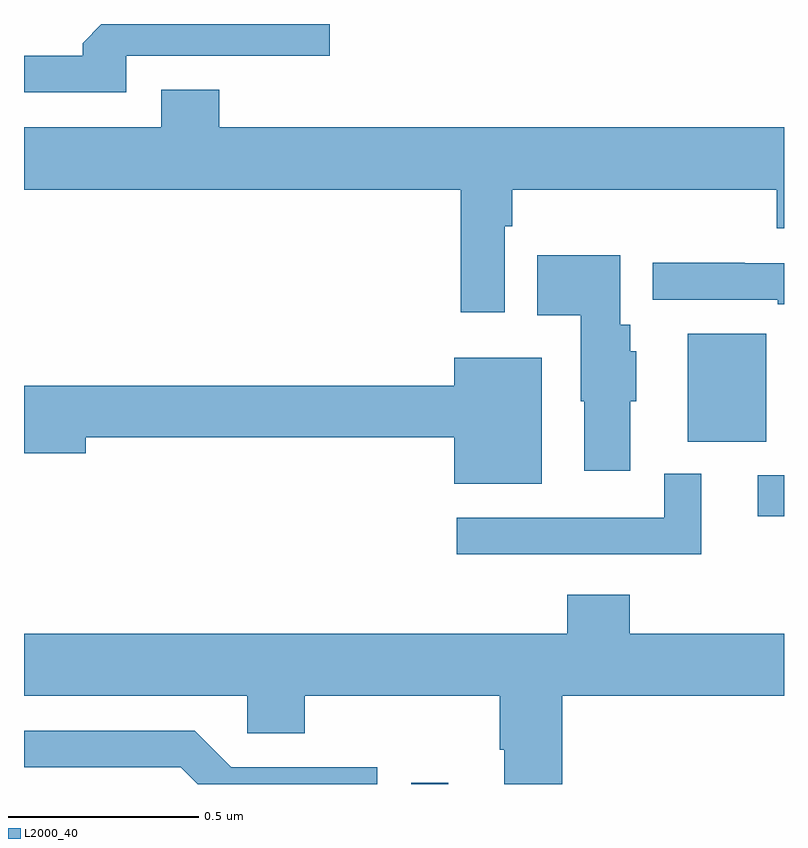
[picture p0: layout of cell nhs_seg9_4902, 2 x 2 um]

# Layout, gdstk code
import gdstk
lib = gdstk.Library(unit=1e-6, precision=1e-09)
def R(c, l, rs):  # rectangles x0, y0, x1, y1
    for r in rs: c.add(gdstk.rectangle(r[:2], r[2:], *l))
def P(c, l, *ps):  # polygons
    for p in ps: c.add(gdstk.Polygon(p, *l))
L2000_40 = (2000, 40)

nhs_seg9_4902 = lib.new_cell('nhs_seg9_4902')
R(nhs_seg9_4902, L2000_40, [(173.019,1217.5,173.116,1217.503), (173.931,1218.204,174,1218.312), (173.747,1218.401,173.953,1218.685)])
P(nhs_seg9_4902, L2000_40, [(172.269,1219.416),(172.804,1219.416),(172.804,1219.5),(172.203,1219.5),(172.154,1219.45),(172.154,1219.416),(172,1219.416),(172,1219.32),(172.269,1219.32)],
  [(173.265,1218.968),(173.285,1218.968),(173.285,1219.064),(173.981,1219.064),(173.981,1218.962),(174,1218.962),(174,1219.228),(172.514,1219.228),(172.514,1219.327),(172.361,1219.327),(172.361,1219.228),(172,1219.228),(172,1219.064),(173.149,1219.064),(173.149,1218.741),(173.265,1218.741)],
  [(173.596,1218.507),(173.611,1218.507),(173.611,1218.639),(173.596,1218.639),(173.596,1218.708),(173.569,1218.708),(173.569,1218.892),(173.35,1218.892),(173.35,1218.734),(173.465,1218.734),(173.465,1218.507),(173.474,1218.507),(173.474,1218.324),(173.596,1218.324)],
  [(174,1218.87),(173.897,1218.87),(173.897,1218.872),(173.655,1218.872),(173.655,1218.774),(173.984,1218.774),(173.984,1218.762),(174,1218.762)],
  [(173.362,1218.622),(173.132,1218.622),(173.132,1218.548),(172,1218.548),(172,1218.37),(172.162,1218.37),(172.162,1218.412),(173.132,1218.412),(173.132,1218.29),(173.362,1218.29)],
  [(173.782,1218.316),(173.685,1218.316),(173.685,1218.201),(173.139,1218.201),(173.139,1218.105),(173.782,1218.105)],
  [(173.417,1217.732),(174,1217.732),(174,1217.896),(173.594,1217.896),(173.594,1217.998),(173.429,1217.998),(173.429,1217.896),(172,1217.896),(172,1217.732),(172.587,1217.732),(172.587,1217.634),(172.739,1217.634),(172.739,1217.732),(173.252,1217.732),(173.252,1217.59),(173.264,1217.59),(173.264,1217.5),(173.417,1217.5)],
  [(172.929,1217.544),(172.545,1217.544),(172.449,1217.64),(172,1217.64),(172,1217.544),(172.413,1217.544),(172.457,1217.5),(172.929,1217.5)])

lib.write_gds('nhs_seg9_4902.gds')
